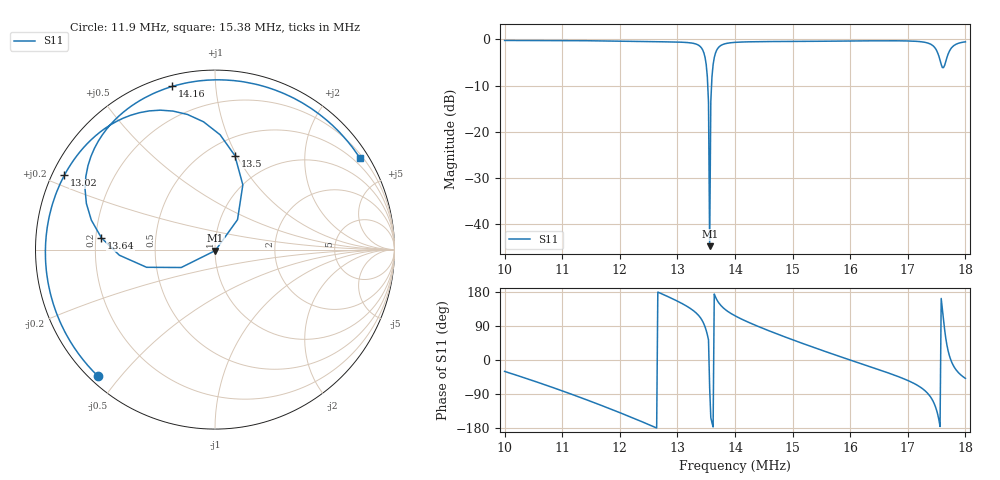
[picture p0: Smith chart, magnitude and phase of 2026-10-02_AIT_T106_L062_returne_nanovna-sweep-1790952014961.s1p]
! NanoVNA Web complex sweep
! Processing: original sample grid, no browser smoothing
# Hz S RI R 50
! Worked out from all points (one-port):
!   401 points, 10 MHz to 18 MHz, reference 50 ohm
!   lowest |S11| = -44.7 dB at 13.56 MHz (marker M1), VSWR 1.01, Z = 50.2 - j0.558 ohm
!   |S11| at or under -10 dB: 13.52685 MHz to 13.59288 MHz (66.03 kHz wide, 0.487 % of centre)
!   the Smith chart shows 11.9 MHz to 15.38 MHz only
!   S11 on the Smith chart (normalised r, x): 11.9 MHz: 0.02, -0.44; 13.02 MHz: 0.03, +0.23; 13.5 MHz: 0.67, +0.98; 13.64 MHz: 0.22, +0.05; 14.16 MHz: 0.05, +0.77; 15.38 MHz: 0.30, +3.41
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1e7  0.8432 -0.4891
1.1e7  0.1448 -0.9618
1.19e7  -0.6535 -0.7035
1.2e7  -0.7223 -0.6292
1.252e7  -0.937 -0.1391
1.3e7  -0.851 0.3912
1.302e7  -0.8398 0.4136
1.338e7  -0.3664 0.7728
1.35e7  0.1105 0.5242
1.352e7  0.1551 0.3607
1.356e7  0.00166 -0.00556
1.36e7  -0.381 -0.0986
1.362e7  -0.5327 -0.0314
1.364e7  -0.6324 0.0648
1.378e7  -0.6714 0.5649
1.4e7  -0.4179 0.8307
1.416e7  -0.2371 0.9093
1.5e7  0.5681 0.7639
1.538e7  0.8056 0.5123
1.6e7  0.9594 -0.00258
1.7e7  0.5651 -0.7793
1.742e7  -0.2035 -0.8471
1.754e7  -0.6111 -0.2479
1.758e7  -0.5128 0.1634
1.764e7  0.0934 0.517
1.77e7  0.6332 0.2853
1.776e7  0.8093 -0.0687
1.8e7  0.6253 -0.7047
